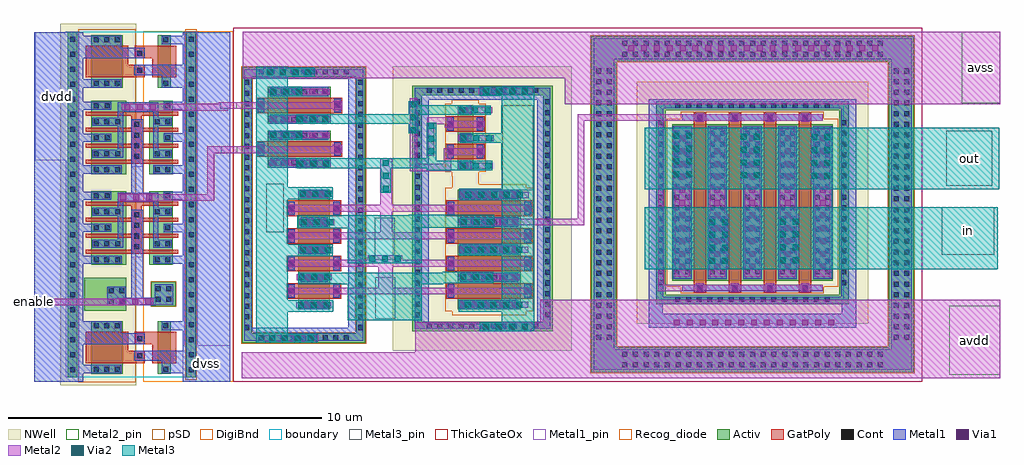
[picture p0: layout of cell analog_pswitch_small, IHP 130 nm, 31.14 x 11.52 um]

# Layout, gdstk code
from math import pi, radians
import gdstk
lib = gdstk.Library(unit=1e-6, precision=1e-09)
def R(c, l, rs):  # rectangles x0, y0, x1, y1
    for r in rs: c.add(gdstk.rectangle(r[:2], r[2:], *l))
def A(c, l, x, y, w, h, nx, ny, dx, dy):  # array of equal rectangles
    R(c, l, [(x+i*dx, y+j*dy, x+i*dx+w, y+j*dy+h) for i in range(nx) for j in range(ny)])
def P(c, l, *ps):  # polygons
    for p in ps: c.add(gdstk.Polygon(p, *l))
Activ = (1, 0)
GatPoly = (5, 0)
Cont = (6, 0)
Metal1 = (8, 0)
Metal1_pin = (8, 2)
Metal2 = (10, 0)
Metal2_pin = (10, 2)
pSD = (14, 0)
DigiBnd = (16, 0)
Via1 = (19, 0)
Via2 = (29, 0)
Metal3 = (30, 0)
Metal3_pin = (30, 2)
NWell = (31, 0)
ThickGateOx = (44, 0)
Recog_diode = (99, 31)
boundary = (189, 4)

via_y6zd6n = lib.new_cell('via_Y6ZD6N')
R(via_y6zd6n, Metal2, [(-0.1,-0.555,0.1,0.555)])
A(via_y6zd6n, Via2, -0.095, -0.505, 0.19, 0.19, 1, 3, 0, 0.41)
R(via_y6zd6n, Metal3, [(-0.145,-0.51,0.145,0.51)])

via_y6z86n = lib.new_cell('via_Y6Z86N')
R(via_y6z86n, Metal2, [(-0.1,-1.105,0.1,1.105)])
A(via_y6z86n, Via2, -0.095, -0.915, 0.19, 0.19, 1, 5, 0, 0.41)
R(via_y6z86n, Metal3, [(-0.145,-1.06,0.145,1.06)])

via_qp3u7v = lib.new_cell('via_QP3U7V')
R(via_qp3u7v, Metal1, [(-0.145,-0.825,0.145,0.825)])
R(via_qp3u7v, Metal2, [(-0.1,-0.865,0.1,0.865)])
A(via_qp3u7v, Via1, -0.095, -0.71, 0.19, 0.19, 1, 4, 0, 0.41)
A(via_qp3u7v, Via2, -0.095, -0.71, 0.19, 0.19, 1, 4, 0, 0.41)
R(via_qp3u7v, Metal3, [(-0.145,-0.82,0.145,0.82)])

sg13_hv_pmos_xrp95e = lib.new_cell('sg13_hv_pmos_XRP95E')
R(sg13_hv_pmos_xrp95e, Activ, [(-1.91,-1,1.91,1)])
A(sg13_hv_pmos_xrp95e, GatPoly, -1.57, -1.37, 0.5, 2.74, 4, 1, 0.88, 0)
A(sg13_hv_pmos_xrp95e, Cont, -1.4, -1.3, 0.16, 0.16, 4, 2, 0.88, 2.44)
A(sg13_hv_pmos_xrp95e, Cont, -1.84, -0.93, 0.16, 0.16, 5, 6, 0.88, 0.34)
A(sg13_hv_pmos_xrp95e, Metal1, -1.535, -1.325, 0.43, 0.21, 4, 2, 0.88, 2.44)
A(sg13_hv_pmos_xrp95e, Metal1, -1.91, -0.93, 0.3, 1.86, 5, 1, 0.88, 0)
A(sg13_hv_pmos_xrp95e, Metal2, -1.43, -1.365, 0.22, 0.29, 4, 2, 0.88, 2.44)
A(sg13_hv_pmos_xrp95e, Metal2, -1.86, -0.97, 0.2, 1.94, 5, 1, 0.88, 0)
R(sg13_hv_pmos_xrp95e, pSD, [(-1.97,-1.4,1.97,-1.18), (-2.09,-1.18,2.09,1.18), (-1.97,1.18,1.97,1.4)])
A(sg13_hv_pmos_xrp95e, Via1, -1.415, -1.315, 0.19, 0.19, 4, 2, 0.88, 2.44)
A(sg13_hv_pmos_xrp95e, Via1, -1.855, -0.915, 0.19, 0.19, 5, 5, 0.88, 0.41)
R(sg13_hv_pmos_xrp95e, NWell, [(-2.53,-1.62,2.53,1.62)])
R(sg13_hv_pmos_xrp95e, ThickGateOx, [(-2.18,-1.27,2.18,1.27)])
sg13_hv_pmos_xrp95e.add(gdstk.Label('D0', (-1.76,0), layer=8, texttype=25))
sg13_hv_pmos_xrp95e.add(gdstk.Label('G0', (-1.32,1.22), layer=8, texttype=25))
sg13_hv_pmos_xrp95e.add(gdstk.Label('S1', (-0.88,0), layer=8, texttype=25))
sg13_hv_pmos_xrp95e.add(gdstk.Label('G1', (-0.44,1.22), layer=8, texttype=25))
sg13_hv_pmos_xrp95e.add(gdstk.Label('D2', (0,0), layer=8, texttype=25))
sg13_hv_pmos_xrp95e.add(gdstk.Label('G2', (0.44,1.22), layer=8, texttype=25))
sg13_hv_pmos_xrp95e.add(gdstk.Label('S3', (0.88,0), layer=8, texttype=25))
sg13_hv_pmos_xrp95e.add(gdstk.Label('G3', (1.32,1.22), layer=8, texttype=25))

sg13_hv_pmos_2tuklb = lib.new_cell('sg13_hv_pmos_2TUKLB')
R(sg13_hv_pmos_2tuklb, Activ, [(-1.03,-0.25,1.03,0.25)])
R(sg13_hv_pmos_2tuklb, GatPoly, [(-0.69,-0.62,-0.19,0.62), (0.19,-0.62,0.69,0.62)])
A(sg13_hv_pmos_2tuklb, Cont, -0.96, -0.08, 0.16, 0.16, 3, 1, 0.88, 0)
R(sg13_hv_pmos_2tuklb, Cont, [(-0.52,-0.55,-0.36,-0.39), (0.36,-0.55,0.52,-0.39), (-0.52,0.39,-0.36,0.55), (0.36,0.39,0.52,0.55)])
A(sg13_hv_pmos_2tuklb, Metal1, -1.03, -0.18, 0.3, 0.36, 3, 1, 0.88, 0)
R(sg13_hv_pmos_2tuklb, Metal1, [(-0.655,-0.575,-0.225,-0.365), (0.225,-0.575,0.655,-0.365), (-0.655,0.365,-0.225,0.575), (0.225,0.365,0.655,0.575)])
A(sg13_hv_pmos_2tuklb, Metal2, -0.98, -0.22, 0.2, 0.44, 3, 1, 0.88, 0)
R(sg13_hv_pmos_2tuklb, Metal2, [(-0.55,-0.615,-0.33,-0.325), (0.33,-0.615,0.55,-0.325), (-0.55,0.325,-0.33,0.615), (0.33,0.325,0.55,0.615)])
R(sg13_hv_pmos_2tuklb, pSD, [(-1.09,-0.65,1.09,-0.43), (-1.21,-0.43,1.21,0.43), (-1.09,0.43,1.09,0.65)])
A(sg13_hv_pmos_2tuklb, Via1, -0.975, -0.095, 0.19, 0.19, 3, 1, 0.88, 0)
R(sg13_hv_pmos_2tuklb, Via1, [(-0.535,-0.565,-0.345,-0.375), (0.345,-0.565,0.535,-0.375), (-0.535,0.375,-0.345,0.565), (0.345,0.375,0.535,0.565)])
R(sg13_hv_pmos_2tuklb, NWell, [(-1.65,-0.87,1.65,0.87)])
R(sg13_hv_pmos_2tuklb, ThickGateOx, [(-1.3,-0.52,1.3,0.52)])
sg13_hv_pmos_2tuklb.add(gdstk.Label('D0', (-0.88,0), layer=8, texttype=25))
sg13_hv_pmos_2tuklb.add(gdstk.Label('G0', (-0.44,0.47), layer=8, texttype=25))
sg13_hv_pmos_2tuklb.add(gdstk.Label('S1', (0,0), layer=8, texttype=25))
sg13_hv_pmos_2tuklb.add(gdstk.Label('G1', (0.44,0.47), layer=8, texttype=25))

sg13_hv_nmos_hsmmzs = lib.new_cell('sg13_hv_nmos_HSMMZS')
R(sg13_hv_nmos_hsmmzs, Activ, [(-1.91,-0.5,1.91,0.5)])
A(sg13_hv_nmos_hsmmzs, GatPoly, -1.57, -0.87, 0.5, 1.74, 4, 1, 0.88, 0)
A(sg13_hv_nmos_hsmmzs, Cont, -1.4, -0.8, 0.16, 0.16, 4, 2, 0.88, 1.44)
A(sg13_hv_nmos_hsmmzs, Cont, -1.84, -0.42, 0.16, 0.16, 5, 3, 0.88, 0.34)
A(sg13_hv_nmos_hsmmzs, Metal1, -1.535, -0.825, 0.43, 0.21, 4, 2, 0.88, 1.44)
A(sg13_hv_nmos_hsmmzs, Metal1, -1.91, -0.43, 0.3, 0.86, 5, 1, 0.88, 0)
A(sg13_hv_nmos_hsmmzs, Metal2, -1.43, -0.865, 0.22, 0.29, 4, 2, 0.88, 1.44)
A(sg13_hv_nmos_hsmmzs, Metal2, -1.86, -0.47, 0.2, 0.94, 5, 1, 0.88, 0)
A(sg13_hv_nmos_hsmmzs, Via1, -1.415, -0.815, 0.19, 0.19, 4, 2, 0.88, 1.44)
A(sg13_hv_nmos_hsmmzs, Via1, -1.855, -0.3, 0.19, 0.19, 5, 2, 0.88, 0.41)
R(sg13_hv_nmos_hsmmzs, ThickGateOx, [(-2.18,-0.77,2.18,0.77)])
sg13_hv_nmos_hsmmzs.add(gdstk.Label('D0', (-1.76,0), layer=8, texttype=25))
sg13_hv_nmos_hsmmzs.add(gdstk.Label('G0', (-1.32,0.72), layer=8, texttype=25))
sg13_hv_nmos_hsmmzs.add(gdstk.Label('S1', (-0.88,0), layer=8, texttype=25))
sg13_hv_nmos_hsmmzs.add(gdstk.Label('G1', (-0.44,0.72), layer=8, texttype=25))
sg13_hv_nmos_hsmmzs.add(gdstk.Label('D2', (0,0), layer=8, texttype=25))
sg13_hv_nmos_hsmmzs.add(gdstk.Label('G2', (0.44,0.72), layer=8, texttype=25))
sg13_hv_nmos_hsmmzs.add(gdstk.Label('S3', (0.88,0), layer=8, texttype=25))
sg13_hv_nmos_hsmmzs.add(gdstk.Label('G3', (1.32,0.72), layer=8, texttype=25))

sg13_hv_nmos_cj33wb = lib.new_cell('sg13_hv_nmos_CJ33WB')
R(sg13_hv_nmos_cj33wb, Activ, [(-1.285,-1,-0.105,1), (0.105,-1,1.285,1)])
R(sg13_hv_nmos_cj33wb, GatPoly, [(-0.945,-1.37,-0.445,1.37), (0.445,-1.37,0.945,1.37)])
A(sg13_hv_nmos_cj33wb, Cont, -1.215, -0.93, 0.16, 0.16, 1, 6, 0, 0.34)
A(sg13_hv_nmos_cj33wb, Cont, -0.335, -0.93, 0.16, 0.16, 1, 6, 0, 0.34)
A(sg13_hv_nmos_cj33wb, Cont, 0.175, -0.93, 0.16, 0.16, 1, 6, 0, 0.34)
A(sg13_hv_nmos_cj33wb, Cont, 1.055, -0.93, 0.16, 0.16, 1, 6, 0, 0.34)
R(sg13_hv_nmos_cj33wb, Cont, [(-0.775,-1.3,-0.615,-1.14), (0.615,-1.3,0.775,-1.14), (-0.775,1.14,-0.615,1.3), (0.615,1.14,0.775,1.3)])
R(sg13_hv_nmos_cj33wb, Metal1, [(-0.91,-1.325,-0.48,-1.115), (0.48,-1.325,0.91,-1.115), (-1.285,-0.93,-0.985,0.93), (-0.405,-0.93,-0.105,0.93), (0.105,-0.93,0.405,0.93), (0.985,-0.93,1.285,0.93), (-0.91,1.115,-0.48,1.325), (0.48,1.115,0.91,1.325)])
R(sg13_hv_nmos_cj33wb, Metal2, [(-0.835,-1.365,-0.555,-1.075), (0.555,-1.365,0.835,-1.075), (-1.235,-0.97,-1.035,0.97), (-0.355,-0.97,-0.155,0.97), (0.155,-0.97,0.355,0.97), (1.035,-0.97,1.235,0.97), (-0.835,1.075,-0.555,1.365), (0.555,1.075,0.835,1.365)])
A(sg13_hv_nmos_cj33wb, Via1, -1.23, -0.915, 0.19, 0.19, 1, 5, 0, 0.41)
A(sg13_hv_nmos_cj33wb, Via1, -0.35, -0.915, 0.19, 0.19, 1, 5, 0, 0.41)
A(sg13_hv_nmos_cj33wb, Via1, 0.16, -0.915, 0.19, 0.19, 1, 5, 0, 0.41)
A(sg13_hv_nmos_cj33wb, Via1, 1.04, -0.915, 0.19, 0.19, 1, 5, 0, 0.41)
R(sg13_hv_nmos_cj33wb, Via1, [(-0.79,-1.315,-0.6,-1.125), (0.6,-1.315,0.79,-1.125), (-0.79,1.125,-0.6,1.315), (0.6,1.125,0.79,1.315)])
R(sg13_hv_nmos_cj33wb, ThickGateOx, [(-1.555,-1.27,1.555,1.27)])
sg13_hv_nmos_cj33wb.add(gdstk.Label('D0', (-1.135,0), layer=8, texttype=25))
sg13_hv_nmos_cj33wb.add(gdstk.Label('S0', (-0.255,0), layer=8, texttype=25))
sg13_hv_nmos_cj33wb.add(gdstk.Label('G0', (-0.695,1.22), layer=8, texttype=25))
sg13_hv_nmos_cj33wb.add(gdstk.Label('D1', (1.135,0), layer=8, texttype=25))
sg13_hv_nmos_cj33wb.add(gdstk.Label('S1', (0.255,0), layer=8, texttype=25))
sg13_hv_nmos_cj33wb.add(gdstk.Label('G1', (0.695,1.22), layer=8, texttype=25))

sw_lvl_shift = lib.new_cell('sw_lvl_shift')
R(sw_lvl_shift, Activ, [(-5.57,2.34,3.22,2.64), (-5.57,2.64,-5.27,5.97), (2.92,2.64,3.22,5.97), (-5.57,5.97,3.22,6.27), (-4.98,7.77,2.85,8.07), (-4.98,8.07,-4.68,11.94), (2.55,8.07,2.85,11.94), (-4.98,11.94,2.85,12.24)])
A(sw_lvl_shift, Cont, -5.165, 2.41, 0.16, 0.16, 24, 2, 0.34, 3.63)
A(sw_lvl_shift, Cont, -5.5, 2.865, 0.16, 0.16, 1, 9, 0, 0.34)
A(sw_lvl_shift, Cont, 2.99, 2.865, 0.16, 0.16, 1, 9, 0, 0.34)
A(sw_lvl_shift, Cont, -4.545, 7.84, 0.16, 0.16, 21, 2, 0.34, 4.17)
A(sw_lvl_shift, Cont, -4.91, 8.225, 0.16, 0.16, 1, 11, 0, 0.34)
A(sw_lvl_shift, Cont, 2.62, 8.225, 0.16, 0.16, 1, 11, 0, 0.34)
R(sw_lvl_shift, Metal1, [(-5.5,2.41,3.15,2.65), (-5.5,2.65,-5.21,5.73), (2.74,2.65,3.15,5.73), (-5.5,5.73,3.15,6.2), (-4.91,7.84,2.78,7.92), (-4.92,7.92,2.78,8.29), (-4.92,8.29,-4.53,11.76), (2.62,8.29,2.78,11.76), (-4.92,11.76,2.78,12.17)])
R(sw_lvl_shift, Metal2, [(-4.46,1.585,-4.24,5.455), (-3.05,1.665,-2.83,5.35), (-1.18,3.81,-0.96,6.745), (-0.3,3.81,-0.08,6.745), (0.58,3.81,0.8,6.685), (1.46,3.81,1.68,6.685), (0.54,6.685,1.68,7.135), (-2.655,6.745,-0.08,7.12), (-1.18,7.12,-0.96,11.53), (-0.3,7.12,-0.08,11.53), (0.58,7.135,0.8,11.53), (1.46,7.135,1.68,11.53), (-4.58,7.68,-2.245,7.93), (-2.495,7.93,-2.245,8.765), (-3.98,8.24,-2.82,8.47), (-3.98,8.47,-3.75,8.8), (-2.98,8.765,-2.245,9.015), (-3.98,8.8,-3.64,9.025), (-2.98,9.015,-2.76,9.95), (-3.86,9.025,-3.64,9.95)])
R(sw_lvl_shift, Metal2_pin, [(-4.46,1.64,-4.24,2.16), (-3.05,1.665,-2.83,2.185)])
R(sw_lvl_shift, pSD, [(-5.6,2.31,3.25,2.67), (-5.6,2.67,-5.24,5.94), (2.89,2.67,3.25,5.94), (-5.6,5.94,3.25,6.3), (-2.11,9.04,-1.84,9.89)])
R(sw_lvl_shift, Metal3, [(-5.58,2.78,3.22,3.79), (-1.74,3.79,-1.36,5.22), (0.08,3.79,0.46,5.23), (1.86,3.79,2.24,5.25), (-4.07,4.07,-3.76,7.73), (-2.66,4.07,-2.35,6.765), (-0.84,4.09,-0.43,5.7), (0.98,4.13,1.36,5.7), (-0.84,5.7,0.68,7.65), (0.98,5.7,2.5,8.07), (-2.66,6.765,-1.56,7.075), (-2.66,7.075,-2.35,8.22), (-0.87,7.65,0.68,8.07), (-4.36,7.73,-3.76,7.95), (-4.36,7.95,-4.05,9.55), (-0.87,8.07,-0.45,10.38), (0.98,8.07,1.36,8.73), (-3.8,8.22,-2.35,8.23), (-3.8,8.23,-2.275,8.53), (-2.585,8.53,-2.275,10.32), (0.95,8.73,1.36,8.76), (0.95,8.76,1.33,10.35), (1.85,9.25,2.23,10.62), (-1.7,9.27,-1.32,10.62), (0.06,9.27,0.44,10.62), (-3.47,9.74,-3.16,10.6), (-4.35,10.6,-2.3,10.62), (-4.97,10.62,2.845,11.65)])
R(sw_lvl_shift, Metal3_pin, [(-1.85,3.1,-0.3,3.66), (-0.77,6.56,0.58,7.21), (1.13,6.58,2.46,7.22), (-4.36,10.64,-1.64,11.62)])
R(sw_lvl_shift, NWell, [(-5.6,7.15,3.47,12.86)])
R(sw_lvl_shift, ThickGateOx, [(-5,2.06,3.49,2.065), (-5.085,2.065,3.49,2.07), (-5.84,2.07,3.49,2.825), (-5.845,2.825,3.495,2.91), (-5.85,2.91,3.5,2.92), (-5.85,2.92,-4.905,2.925), (-2.1,2.92,-2.005,2.925), (2.635,2.92,3.5,3.86), (-5.85,2.925,-4.985,3.005), (-5.85,3.005,-4.99,5.43), (-2.1,3.86,-1.93,5.4), (2.43,3.86,3.5,5.4), (-2.1,5.4,3.5,5.43), (-5.85,5.43,3.5,5.7), (-5.85,5.7,3.495,5.795), (-5.85,5.795,3.49,5.995), (-5.84,5.995,3.49,6.54), (-4.41,7.49,3.12,7.495), (-4.495,7.495,3.12,7.5), (-5.25,7.5,3.12,8.21), (-5.26,8.21,3.12,8.215), (-5.26,8.215,3.13,8.94), (-5.26,8.94,-4.4,11.575), (-2.02,8.94,3.13,8.95), (-2.02,8.95,-1.93,9.98), (2.27,8.95,3.13,11.49), (-1.93,11.49,3.13,11.67), (-5.26,11.575,-4.395,11.67), (-5.255,11.67,3.13,11.765), (-5.25,11.765,3.13,12.01), (-5.25,12.01,3.12,12.51)])
sw_lvl_shift.add(gdstk.Reference(via_y6zd6n, (2.025,4.625)))
sw_lvl_shift.add(gdstk.Reference(via_y6zd6n, (0.265,4.675)))
sw_lvl_shift.add(gdstk.Reference(via_y6zd6n, (-1.535,4.675)))
sw_lvl_shift.add(gdstk.Reference(via_y6zd6n, (1.135,4.635)))
sw_lvl_shift.add(gdstk.Reference(via_y6zd6n, (-0.625,4.715)))
sw_lvl_shift.add(gdstk.Reference(via_y6zd6n, (-2.43,9.785), rotation=pi))
sw_lvl_shift.add(gdstk.Reference(via_y6zd6n, (-3.305,9.805), rotation=pi))
sw_lvl_shift.add(gdstk.Reference(via_y6zd6n, (-4.2,9.765), rotation=pi))
sw_lvl_shift.add(gdstk.Reference(via_y6zd6n, (-0.635,9.825)))
sw_lvl_shift.add(gdstk.Reference(via_y6zd6n, (0.535,6.895), rotation=pi))
sw_lvl_shift.add(gdstk.Reference(via_y6zd6n, (-2.105,6.915), rotation=3*pi/2))
sw_lvl_shift.add(gdstk.Reference(via_y6zd6n, (-3.295,8.365), rotation=3*pi/2))
sw_lvl_shift.add(gdstk.Reference(via_y6zd6n, (-3.975,7.805), rotation=3*pi/2))
sw_lvl_shift.add(gdstk.Reference(via_y6zd6n, (-2.495,4.605)))
sw_lvl_shift.add(gdstk.Reference(via_y6zd6n, (-3.915,4.585)))
sw_lvl_shift.add(gdstk.Reference(via_y6zd6n, (1.135,9.805)))
sw_lvl_shift.add(gdstk.Reference(via_y6zd6n, (-3.405,3.745)))
sw_lvl_shift.add(gdstk.Reference(via_y6zd6n, (-4.795,3.74)))
sw_lvl_shift.add(gdstk.Reference(via_y6z86n, (2.01,10.355), x_reflection=True))
sw_lvl_shift.add(gdstk.Reference(via_y6z86n, (-1.495,10.375), x_reflection=True))
sw_lvl_shift.add(gdstk.Reference(via_y6z86n, (0.255,10.355), x_reflection=True))
sw_lvl_shift.add(gdstk.Reference(via_qp3u7v, (3.075,3.905)))
sw_lvl_shift.add(gdstk.Reference(via_qp3u7v, (2.705,10.735)))
sw_lvl_shift.add(gdstk.Reference(via_qp3u7v, (-5.415,3.835)))
sw_lvl_shift.add(gdstk.Reference(via_qp3u7v, (-4.805,10.745)))
sw_lvl_shift.add(gdstk.Reference(sg13_hv_pmos_xrp95e, (0.25,10.22)))
sw_lvl_shift.add(gdstk.Reference(sg13_hv_pmos_2tuklb, (-3.32,9.46)))
sw_lvl_shift.add(gdstk.Reference(sg13_hv_nmos_hsmmzs, (0.25,4.63)))
sw_lvl_shift.add(gdstk.Reference(sg13_hv_nmos_cj33wb, (-3.655,4.16)))
sw_lvl_shift.add(gdstk.Label('in_n', (-2.94,1.925), layer=10, texttype=25))
sw_lvl_shift.add(gdstk.Label('in_p', (-4.35,1.9), layer=10, texttype=25))
sw_lvl_shift.add(gdstk.Label('vdd', (-3,11.13), layer=30, texttype=25))
sw_lvl_shift.add(gdstk.Label('vss', (-1.075,3.38), layer=30, texttype=25))
sw_lvl_shift.add(gdstk.Label('out', (1.795,6.9), layer=30, texttype=25))
sw_lvl_shift.add(gdstk.Label('outn', (-0.095,6.885), layer=30, texttype=25))

sg13cmos5l_inv_4 = lib.new_cell('sg13cmos5l_inv_4')
R(sg13cmos5l_inv_4, Activ, [(0,-0.15,2.88,0.15), (0.245,0.59,2.585,1.33), (0.245,2.06,2.585,3.18), (0,3.63,2.88,3.93)])
P(sg13cmos5l_inv_4, GatPoly, [(0.585,0.41),(0.585,3.36),(0.715,3.36),(0.715,1.9),(1.095,1.9),(1.095,3.36),(1.225,3.36),(1.225,1.9),(1.605,1.9),(1.605,3.36),(1.735,3.36),(1.735,1.9),(2.115,1.9),(2.115,3.36),(2.245,3.36),(2.245,0.41),(2.115,0.41),(2.115,1.57),(1.735,1.57),(1.735,0.41),(1.605,0.41),(1.605,1.57),(1.225,1.57),(1.225,0.41),(1.095,0.41),(1.095,1.57),(0.715,1.57),(0.715,0.41)])
A(sg13cmos5l_inv_4, Cont, 0.315, 0.66, 0.16, 0.16, 5, 2, 0.51, 2.285)
A(sg13cmos5l_inv_4, Cont, 0.735, 1.655, 0.16, 0.16, 4, 1, 0.34, 0)
R(sg13cmos5l_inv_4, Cont, [(0.16,-0.08,0.32,0.08), (0.16,-0.08,0.32,0.08), (0.64,-0.08,0.8,0.08), (0.64,-0.08,0.8,0.08), (1.12,-0.08,1.28,0.08), (1.12,-0.08,1.28,0.08), (1.6,-0.08,1.76,0.08), (1.6,-0.08,1.76,0.08), (2.08,-0.08,2.24,0.08), (2.08,-0.08,2.24,0.08), (2.56,-0.08,2.72,0.08), (2.56,-0.08,2.72,0.08), (0.315,1,0.475,1.16), (0.825,1,0.985,1.16), (1.845,1,2.005,1.16), (0.315,2.255,0.475,2.415), (0.825,2.255,0.985,2.415), (1.845,2.255,2.005,2.415), (1.335,2.595,1.495,2.755), (2.355,2.595,2.515,2.755), (0.315,2.605,0.475,2.765), (0.825,2.605,0.985,2.765), (1.845,2.605,2.005,2.765), (0.16,3.7,0.32,3.86), (0.16,3.7,0.32,3.86), (0.64,3.7,0.8,3.86), (0.64,3.7,0.8,3.86), (1.12,3.7,1.28,3.86), (1.12,3.7,1.28,3.86), (1.6,3.7,1.76,3.86), (1.6,3.7,1.76,3.86), (2.08,3.7,2.24,3.86), (2.08,3.7,2.24,3.86), (2.56,3.7,2.72,3.86), (2.56,3.7,2.72,3.86)])
R(sg13cmos5l_inv_4, Metal1, [(0.48,1.52,2,1.9)])
P(sg13cmos5l_inv_4, Metal1, [(0,-0.22),(0,0.22),(0.265,0.22),(0.265,1.21),(0.525,1.21),(0.525,0.22),(1.28,0.22),(1.28,0.87),(1.55,0.87),(1.55,0.22),(2.305,0.22),(2.305,0.87),(2.565,0.87),(2.565,0.22),(2.88,0.22),(2.88,-0.22)],
  [(0.265,2.205),(0.265,3.56),(0,3.56),(0,4),(2.88,4),(2.88,3.56),(2.565,3.56),(2.565,2.545),(2.305,2.545),(2.305,3.56),(1.545,3.56),(1.545,2.545),(1.285,2.545),(1.285,3.56),(0.525,3.56),(0.525,2.205)],
  [(0.775,0.61),(0.775,1.21),(2.245,1.21),(2.245,2.17),(0.775,2.17),(0.775,3.155),(1.035,3.155),(1.035,2.34),(1.795,2.34),(1.795,3.155),(2.055,3.155),(2.055,2.34),(2.54,2.34),(2.54,1.05),(2.055,1.05),(2.055,0.61),(1.795,0.61),(1.795,1.05),(1.035,1.05),(1.035,0.61)])
R(sg13cmos5l_inv_4, Metal1_pin, [(0,-0.22,2.88,0.22), (2.245,1.05,2.54,2.34), (0.48,1.52,2,1.9), (0,3.56,2.88,4)])
R(sg13cmos5l_inv_4, pSD, [(-0.07,-0.18,2.95,0.18), (-0.07,1.76,2.95,3.6)])
R(sg13cmos5l_inv_4, NWell, [(-0.24,1.75,3.12,4.17)])
R(sg13cmos5l_inv_4, boundary, [(0,0,2.88,3.78)])
sg13cmos5l_inv_4.add(gdstk.Label('VSS', (1.405,0.005), layer=8, texttype=25))
sg13cmos5l_inv_4.add(gdstk.Label('Y', (2.4,1.68), layer=8, texttype=25))
sg13cmos5l_inv_4.add(gdstk.Label('VDD', (1.925,3.8), layer=8, texttype=25))
sg13cmos5l_inv_4.add(gdstk.Label('A', (0.96,1.68), layer=8, texttype=25))

sg13cmos5l_decap_4 = lib.new_cell('sg13cmos5l_decap_4')
R(sg13cmos5l_decap_4, Activ, [(0,-0.15,1.92,0.15), (0.12,0.645,1.8,1.065), (0.12,2.18,1.8,3.18), (0,3.63,1.92,3.93)])
P(sg13cmos5l_decap_4, GatPoly, [(0.46,0.465),(0.46,1.245),(1.065,1.245),(1.065,1.8),(1.46,1.8),(1.46,0.465)],
  [(0.46,1.475),(0.46,3.36),(1.46,3.36),(1.46,2),(0.855,2),(0.855,1.475)])
A(sg13cmos5l_decap_4, Cont, 0.16, -0.08, 0.16, 0.16, 4, 2, 0.48, 3.78)
A(sg13cmos5l_decap_4, Cont, 0.19, 2.27, 0.16, 0.16, 1, 3, 0, 0.34)
A(sg13cmos5l_decap_4, Cont, 1.57, 2.27, 0.16, 0.16, 1, 3, 0, 0.34)
R(sg13cmos5l_decap_4, Cont, [(0.19,0.72,0.35,0.88), (1.57,0.72,1.73,0.88), (1.15,1.555,1.31,1.715), (0.61,1.56,0.77,1.72)])
P(sg13cmos5l_decap_4, Metal1, [(1.065,1.47),(1.065,3.56),(0.4,3.56),(0.4,2.22),(0.13,2.22),(0.13,3.56),(0,3.56),(0,4),(1.92,4),(1.92,3.56),(1.79,3.56),(1.79,2.22),(1.405,2.22),(1.405,1.47)],
  [(0,-0.22),(0,0.22),(0.13,0.22),(0.13,0.935),(0.53,0.935),(0.53,1.805),(0.855,1.805),(0.855,0.22),(1.51,0.22),(1.51,0.935),(1.79,0.935),(1.79,0.22),(1.92,0.22),(1.92,-0.22)])
R(sg13cmos5l_decap_4, Metal1_pin, [(0,-0.22,1.92,0.22), (0,3.56,1.92,4)])
R(sg13cmos5l_decap_4, pSD, [(-0.07,-0.18,1.99,0.18), (-0.16,1.76,1.99,3.6)])
R(sg13cmos5l_decap_4, NWell, [(-0.24,1.75,2.16,4.17)])
R(sg13cmos5l_decap_4, boundary, [(0,0,1.92,3.78)])
sg13cmos5l_decap_4.add(gdstk.Label('VSS', (1.08,0), layer=8, texttype=25))
sg13cmos5l_decap_4.add(gdstk.Label('VDD', (0.95,3.78), layer=8, texttype=25))

sg13cmos5l_antennanp = lib.new_cell('sg13cmos5l_antennanp')
R(sg13cmos5l_antennanp, Activ, [(0,-0.15,1.44,0.15), (0.35,0.49,1.13,1.27), (0.215,2.06,1.265,3.4), (0,3.63,1.44,3.93)])
A(sg13cmos5l_antennanp, Cont, 0.16, -0.08, 0.16, 0.16, 3, 2, 0.48, 3.78)
R(sg13cmos5l_antennanp, Cont, [(0.16,-0.08,0.32,0.08), (0.49,0.63,0.65,0.79), (0.83,0.63,0.99,0.79), (0.49,0.97,0.65,1.13), (0.83,0.97,0.99,1.13), (0.43,2.13,0.59,2.29), (0.77,2.13,0.93,2.29), (0.43,2.47,0.59,2.63), (0.77,2.47,0.93,2.63), (0.16,3.7,0.32,3.86)])
R(sg13cmos5l_antennanp, Metal1, [(0,-0.22,1.44,0.22), (0.38,2.08,0.98,2.68), (0,3.56,1.44,4)])
P(sg13cmos5l_antennanp, Metal1, [(0.405,0.57),(0.405,1.13),(0.38,1.13),(0.38,2.41),(0.63,2.41),(0.63,1.16),(1.05,1.16),(1.05,0.57)])
R(sg13cmos5l_antennanp, Metal1_pin, [(0,-0.22,1.44,0.22), (0.38,1.13,0.63,2.41), (0,3.56,1.44,4)])
R(sg13cmos5l_antennanp, pSD, [(-0.07,-0.18,1.51,0.18), (-0.07,1.76,1.51,3.6)])
R(sg13cmos5l_antennanp, NWell, [(-0.24,1.75,1.68,4.17)])
R(sg13cmos5l_antennanp, Recog_diode, [(0.33,0.47,1.15,1.29), (0.215,2.06,1.265,3.4)])
R(sg13cmos5l_antennanp, boundary, [(0,0,1.44,3.78)])
sg13cmos5l_antennanp.add(gdstk.Label('VDD', (0.495,3.78), layer=8, texttype=25))
sg13cmos5l_antennanp.add(gdstk.Label('VSS', (0.49,0), layer=8, texttype=25))
sg13cmos5l_antennanp.add(gdstk.Label('A', (0.505,1.64), layer=8, texttype=25))
sg13cmos5l_antennanp.add(gdstk.Label('dant', (0.74,0.88), layer=63, texttype=0))
sg13cmos5l_antennanp.add(gdstk.Label('dpant', (0.695,2.29), layer=63, texttype=0))

sg13_hv_pmos_hvfxc8 = lib.new_cell('sg13_hv_pmos_HVFXC8')
R(sg13_hv_pmos_hvfxc8, Activ, [(-3.07,-3.24,3.07,-2.94), (-3.07,-2.94,-2.77,2.94), (2.77,-2.94,3.07,2.94), (-2.56,-2.5,2.56,2.5), (-3.07,2.94,3.07,3.24)])
A(sg13_hv_pmos_hvfxc8, GatPoly, -1.88, -2.87, 0.4, 5.74, 4, 1, 1.12, 0)
A(sg13_hv_pmos_hvfxc8, Cont, -2.46, -3.17, 0.16, 0.16, 15, 2, 0.34, 6.18)
A(sg13_hv_pmos_hvfxc8, Cont, -1.76, -2.8, 0.16, 0.16, 4, 2, 1.12, 5.44)
A(sg13_hv_pmos_hvfxc8, Cont, -3, -2.63, 0.16, 0.16, 1, 16, 0, 0.34)
A(sg13_hv_pmos_hvfxc8, Cont, 2.84, -2.63, 0.16, 0.16, 1, 16, 0, 0.34)
A(sg13_hv_pmos_hvfxc8, Cont, -2.49, -2.29, 0.16, 0.16, 1, 14, 0, 0.34)
A(sg13_hv_pmos_hvfxc8, Cont, -2.15, -2.29, 0.16, 0.16, 1, 14, 0, 0.34)
A(sg13_hv_pmos_hvfxc8, Cont, -1.37, -2.29, 0.16, 0.16, 1, 14, 0, 0.34)
A(sg13_hv_pmos_hvfxc8, Cont, -1.03, -2.29, 0.16, 0.16, 1, 14, 0, 0.34)
A(sg13_hv_pmos_hvfxc8, Cont, -0.25, -2.29, 0.16, 0.16, 1, 14, 0, 0.34)
A(sg13_hv_pmos_hvfxc8, Cont, 0.09, -2.29, 0.16, 0.16, 1, 14, 0, 0.34)
A(sg13_hv_pmos_hvfxc8, Cont, 0.87, -2.29, 0.16, 0.16, 1, 14, 0, 0.34)
A(sg13_hv_pmos_hvfxc8, Cont, 1.21, -2.29, 0.16, 0.16, 1, 14, 0, 0.34)
A(sg13_hv_pmos_hvfxc8, Cont, 1.99, -2.29, 0.16, 0.16, 1, 14, 0, 0.34)
A(sg13_hv_pmos_hvfxc8, Cont, 2.33, -2.29, 0.16, 0.16, 1, 14, 0, 0.34)
A(sg13_hv_pmos_hvfxc8, Metal1, -2.54, -2.43, 0.6, 4.86, 5, 1, 1.12, 0)
R(sg13_hv_pmos_hvfxc8, Metal1, [(-3,-3.17,3,-3.01), (-3,-3.01,-2.84,3.01), (2.84,-3.01,3,3.01), (-2.24,-2.825,2.24,-2.615), (-2.24,2.615,2.24,2.825), (-3,3.01,3,3.17)])
A(sg13_hv_pmos_hvfxc8, Metal2, -1.81, -2.865, 0.26, 0.045, 4, 2, 1.12, 0.245)
A(sg13_hv_pmos_hvfxc8, Metal2, -2.485, -2.365, 0.49, 4.73, 5, 1, 1.12, 0)
A(sg13_hv_pmos_hvfxc8, Metal2, -1.81, 2.575, 0.26, 0.045, 4, 2, 1.12, 0.245)
R(sg13_hv_pmos_hvfxc8, Metal2, [(-2.24,-2.82,2.24,-2.62), (-2.24,2.62,2.24,2.82)])
R(sg13_hv_pmos_hvfxc8, pSD, [(-2.28,-2.9,2.28,-2.68), (-2.74,-2.68,2.74,2.68), (-2.28,2.68,2.28,2.9)])
A(sg13_hv_pmos_hvfxc8, Via1, -1.775, -2.815, 0.19, 0.19, 4, 2, 1.12, 5.44)
A(sg13_hv_pmos_hvfxc8, Via1, -2.335, -2.145, 0.19, 0.19, 5, 11, 1.12, 0.41)
R(sg13_hv_pmos_hvfxc8, NWell, [(-3.69,-3.86,3.69,3.86)])
R(sg13_hv_pmos_hvfxc8, ThickGateOx, [(-3.34,-3.51,3.34,3.51)])
R(sg13_hv_pmos_hvfxc8, boundary, [(-2.92,-3.09,2.92,3.09)])
sg13_hv_pmos_hvfxc8.add(gdstk.Label('B', (0,-3.09), layer=8, texttype=25))
sg13_hv_pmos_hvfxc8.add(gdstk.Label('D0', (-2.24,0), layer=8, texttype=25))
sg13_hv_pmos_hvfxc8.add(gdstk.Label('G', (1.68,2.72), layer=8, texttype=25))
sg13_hv_pmos_hvfxc8.add(gdstk.Label('G', (0.56,2.72), layer=8, texttype=25))
sg13_hv_pmos_hvfxc8.add(gdstk.Label('G', (-0.56,2.72), layer=8, texttype=25))
sg13_hv_pmos_hvfxc8.add(gdstk.Label('G', (-1.68,2.72), layer=8, texttype=25))
sg13_hv_pmos_hvfxc8.add(gdstk.Label('S1', (-1.12,0), layer=8, texttype=25))
sg13_hv_pmos_hvfxc8.add(gdstk.Label('D2', (0,0), layer=8, texttype=25))
sg13_hv_pmos_hvfxc8.add(gdstk.Label('S3', (1.12,0), layer=8, texttype=25))

via_nn8lkn = lib.new_cell('via_NN8LKN')
R(via_nn8lkn, Metal2, [(-0.305,-0.865,0.305,0.865)])
A(via_nn8lkn, Via2, -0.3, -0.71, 0.19, 0.19, 1, 4, 0, 0.41)
A(via_nn8lkn, Via2, 0.11, -0.71, 0.19, 0.19, 1, 4, 0, 0.41)
R(via_nn8lkn, Metal3, [(-0.35,-0.82,0.35,0.82)])

analog_pswitch_small = lib.new_cell('analog_pswitch_small')
R(analog_pswitch_small, Activ, [(69.145,1.63,79.44,2.43), (69.145,2.43,69.945,11.55), (78.64,2.43,79.44,11.55), (69.145,11.55,79.44,12.35)])
A(analog_pswitch_small, Cont, 70.13, 1.78, 0.16, 0.16, 25, 2, 0.34, 0.34)
A(analog_pswitch_small, Cont, 69.295, 2.66, 0.16, 0.16, 1, 26, 0, 0.34)
A(analog_pswitch_small, Cont, 69.635, 2.66, 0.16, 0.16, 1, 26, 0, 0.34)
A(analog_pswitch_small, Cont, 78.79, 2.66, 0.16, 0.16, 1, 26, 0, 0.34)
A(analog_pswitch_small, Cont, 79.13, 2.66, 0.16, 0.16, 1, 26, 0, 0.34)
A(analog_pswitch_small, Cont, 70.13, 11.7, 0.16, 0.16, 25, 2, 0.34, 0.34)
R(analog_pswitch_small, Metal1, [(51.36,1.32,52.935,12.48), (56.1,1.32,57.62,12.48), (69.215,1.7,79.37,2.36), (69.215,2.36,69.875,11.62), (78.71,2.36,79.37,11.62), (70.98,3.045,77.595,3.495), (70.98,3.495,71.43,3.81), (77.14,3.495,77.59,3.81), (54.02,3.76,55.165,4), (70.98,3.81,77.59,3.95), (70.98,3.95,71.43,4.26), (77.14,3.95,77.59,4.26), (54.47,4,54.85,5.3), (70.98,4.26,71.385,10.13), (77.18,4.26,77.59,10.13), (54.045,7.09,55.21,7.33), (54.47,7.33,54.85,8.18), (54.16,9.975,55.315,10.205), (70.98,10.13,77.59,10.34), (69.215,11.62,79.37,12.28)])
R(analog_pswitch_small, Metal1_pin, [(56.1,1.32,57.62,2.485), (51.405,8.385,52.795,12.48)])
R(analog_pswitch_small, Metal2, [(57.995,1.43,82.185,2.27), (63.525,2.27,82.185,3.225), (67.52,3.225,82.185,3.94), (51.04,3.76,54.72,3.775), (51.04,3.775,55.165,3.98), (54.02,3.98,55.165,3.995), (71.275,4.215,72.1,4.415), (71.275,4.415,71.475,9.66), (66.365,6.325,68.925,6.53), (68.705,6.53,68.925,9.66), (54.045,7.09,55.21,7.095), (54.045,7.095,57.11,7.315), (54.045,7.315,55.21,7.33), (56.89,7.315,57.11,8.615), (56.89,8.615,57.615,8.835), (68.705,9.66,72.29,9.86), (55.14,9.97,57.55,9.98), (54.16,9.98,57.55,10.19), (68.3,10.185,82.185,11.015), (54.16,10.19,55.415,10.2), (58.015,11.015,82.185,12.485), (80.96,12.485,82.185,12.49)])
R(analog_pswitch_small, Metal2_pin, [(80.56,1.545,82.185,3.75), (51.18,3.76,51.53,3.98), (80.97,10.205,82.185,12.49)])
R(analog_pswitch_small, pSD, [(69.115,1.6,79.47,2.46), (69.115,2.46,69.975,11.52), (78.61,2.46,79.47,11.52), (52.89,3.22,53.01,3.415), (54.37,3.22,54.49,3.415), (52.89,4.825,54.49,4.885), (52.89,4.885,53.01,5.105), (53.01,7.585,54.49,7.765), (53.01,10.465,54.49,10.52), (54.37,10.52,54.49,10.74), (69.115,11.52,79.47,12.38)])
R(analog_pswitch_small, DigiBnd, [(54.84,1.32,57.72,12.505)])
A(analog_pswitch_small, Via1, 71.78, 3.12, 0.19, 0.19, 13, 1, 0.41, 0)
A(analog_pswitch_small, Via1, 54.085, 3.79, 0.19, 0.19, 3, 1, 0.41, 0)
A(analog_pswitch_small, Via1, 54.115, 7.11, 0.19, 0.19, 3, 1, 0.41, 0)
A(analog_pswitch_small, Via1, 54.235, 9.995, 0.19, 0.19, 3, 1, 0.41, 0)
A(analog_pswitch_small, Via1, 70.32, 11.875, 0.19, 0.19, 20, 1, 0.41, 0)
R(analog_pswitch_small, Metal3, [(70.855,4.91,82.115,6.9), (70.855,7.47,82.165,9.43), (80.47,9.43,82.02,9.435)])
R(analog_pswitch_small, Metal3_pin, [(80.33,5.37,82.005,6.9), (80.47,7.58,81.93,9.34)])
R(analog_pswitch_small, NWell, [(71.645,3.545,76.945,3.745)])
R(analog_pswitch_small, ThickGateOx, [(57.72,1.32,79.71,12.62)])
analog_pswitch_small.add(gdstk.Reference(sw_lvl_shift, (55.665,5.79), rotation=3*pi/2))
analog_pswitch_small.add(gdstk.Reference(sg13cmos5l_inv_4, (56.37,7.7), rotation=pi/2))
analog_pswitch_small.add(gdstk.Reference(sg13cmos5l_inv_4, (56.37,4.82), rotation=pi/2))
analog_pswitch_small.add(gdstk.Reference(sg13cmos5l_decap_4, (56.37,10.58), rotation=pi/2))
analog_pswitch_small.add(gdstk.Reference(sg13cmos5l_decap_4, (56.37,1.46), rotation=pi/2))
analog_pswitch_small.add(gdstk.Reference(sg13cmos5l_antennanp, (56.37,3.38), rotation=pi/2))
analog_pswitch_small.add(gdstk.Reference(sg13_hv_pmos_hvfxc8, (74.285,7.04)))
analog_pswitch_small.add(gdstk.Reference(via_nn8lkn, (72.055,8.56)))
analog_pswitch_small.add(gdstk.Reference(via_nn8lkn, (73.205,5.805)))
analog_pswitch_small.add(gdstk.Reference(via_nn8lkn, (74.22,8.525)))
analog_pswitch_small.add(gdstk.Reference(via_nn8lkn, (75.455,5.82)))
analog_pswitch_small.add(gdstk.Reference(via_nn8lkn, (76.47,8.51)))
analog_pswitch_small.add(gdstk.Label('dvdd', (52.1,10.432), layer=8, texttype=25))
analog_pswitch_small.add(gdstk.Label('dvss', (56.86,1.902), layer=8, texttype=25))
analog_pswitch_small.add(gdstk.Label('avss', (81.577,11.347), layer=10, texttype=25))
analog_pswitch_small.add(gdstk.Label('enable', (51.355,3.87), layer=10, texttype=25))
analog_pswitch_small.add(gdstk.Label('avdd', (81.372,2.647), layer=10, texttype=25))
analog_pswitch_small.add(gdstk.Label('in', (81.167,6.135), layer=30, texttype=25))
analog_pswitch_small.add(gdstk.Label('out', (81.2,8.46), layer=30, texttype=25))

lib.write_gds('analog_pswitch_small.gds')
